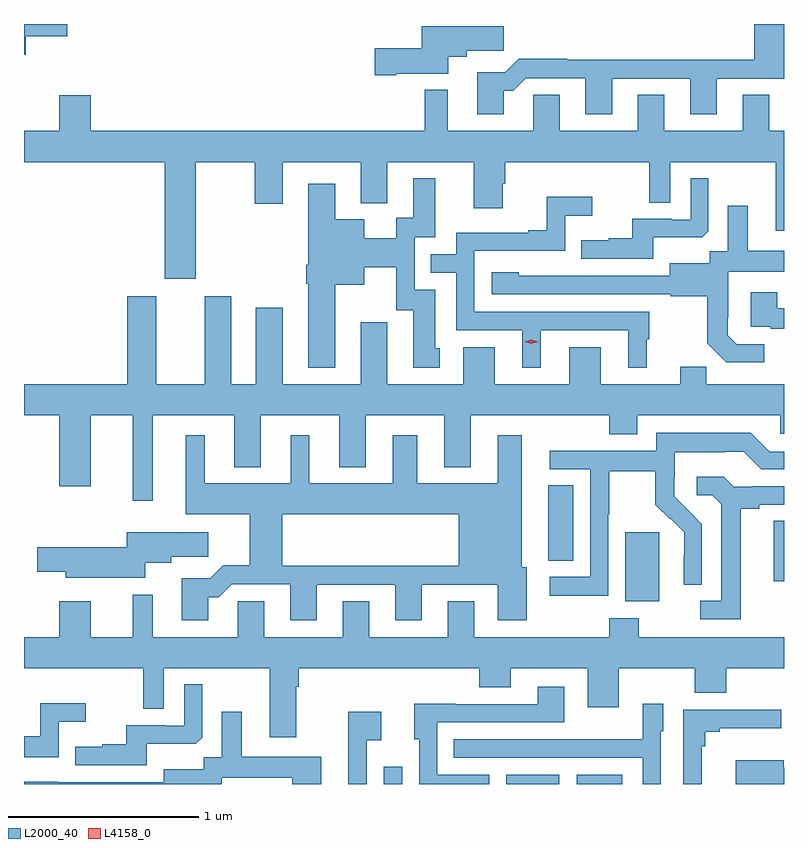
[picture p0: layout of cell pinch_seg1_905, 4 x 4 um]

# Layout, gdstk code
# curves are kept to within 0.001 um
import gdstk
lib = gdstk.Library(unit=1e-6, precision=1e-09)
def R(c, l, rs):  # rectangles x0, y0, x1, y1
    for r in rs: c.add(gdstk.rectangle(r[:2], r[2:], *l))
def P(c, l, *ps):  # polygons
    for p in ps: c.add(gdstk.Polygon(p, *l))
L2000_40 = (2000, 40)
L4158_0 = (4158, 0)

pinch_seg1_905 = lib.new_cell('pinch_seg1_905')
R(pinch_seg1_905, L2000_40, [(154.728,536.471,154.824,536.563), (155.372,536.471,155.65,536.521), (155.744,536.471,155.983,536.521), (155.999,537.434,156.178,537.795), (156.779,537.537,156.834,537.857), (155.594,537.646,155.725,538.043)])
P(pinch_seg1_905, L2000_40, [(152.843,540.406),(153.061,540.406),(153.061,540.471),(152.834,540.471),(152.834,540.31),(152.843,540.31)],
  [(155.359,540.119),(155.408,540.119),(155.475,540.186),(155.789,540.186),(155.789,539.997),(155.929,539.997),(155.929,540.183),(156.341,540.183),(156.341,539.997),(156.481,539.997),(156.481,540.183),(156.834,540.183),(156.834,540.471),(156.677,540.471),(156.677,540.284),(155.693,540.284),(155.693,540.287),(155.438,540.287),(155.368,540.217),(155.219,540.217),(155.219,539.997),(155.359,539.997)],
  [(154.792,540.209),(155.068,540.209),(155.068,540.299),(155.164,540.299),(155.164,540.331),(155.359,540.331),(155.359,540.46),(154.928,540.46),(154.928,540.344),(154.68,540.344),(154.68,540.202),(154.792,540.202)],
  [(153.739,539.744),(154.048,539.744),(154.048,539.526),(154.195,539.526),(154.195,539.744),(154.607,539.744),(154.607,539.528),(154.747,539.528),(154.747,539.744),(155.201,539.744),(155.201,539.502),(155.353,539.502),(155.353,539.631),(155.366,539.631),(155.366,539.744),(156.126,539.744),(156.126,539.53),(156.234,539.53),(156.234,539.744),(156.791,539.744),(156.791,539.382),(156.834,539.382),(156.834,539.908),(156.757,539.908),(156.757,540.098),(156.617,540.098),(156.617,539.908),(156.205,539.908),(156.205,540.098),(156.065,540.098),(156.065,539.908),(155.653,539.908),(155.653,540.098),(155.514,540.098),(155.514,539.908),(155.065,539.908),(155.065,540.124),(154.944,540.124),(154.944,539.908),(153.184,539.908),(153.184,540.097),(153.02,540.097),(153.02,539.908),(152.834,539.908),(152.834,539.744),(153.575,539.744),(153.575,539.13),(153.739,539.13)],
  [(156.145,539.348),(156.403,539.348),(156.435,539.379),(156.435,539.659),(156.342,539.659),(156.342,539.442),(156.242,539.442),(156.242,539.445),(156.035,539.445),(156.035,539.344),(155.911,539.344),(155.911,539.332),(155.767,539.332),(155.767,539.235),(156.145,539.235)],
  [(154.471,539.099),(154.624,539.099),(154.624,539.192),(154.794,539.192),(154.794,538.965),(154.883,538.965),(154.883,538.662),(155.023,538.662),(155.023,538.764),(154.999,538.764),(154.999,539.073),(154.89,539.073),(154.89,539.349),(154.999,539.349),(154.999,539.659),(154.883,539.659),(154.883,539.45),(154.793,539.45),(154.793,539.344),(154.624,539.344),(154.624,539.443),(154.471,539.443),(154.471,539.629),(154.331,539.629),(154.331,539.203),(154.319,539.203),(154.319,539.103),(154.331,539.103),(154.331,538.661),(154.471,538.661)],
  [(155.554,538.86),(156.014,538.86),(156.014,538.661),(156.112,538.661),(156.112,538.812),(156.124,538.812),(156.124,538.956),(155.205,538.956),(155.205,539.277),(155.682,539.277),(155.682,539.462),(155.824,539.462),(155.824,539.561),(155.584,539.561),(155.584,539.386),(155.489,539.386),(155.489,539.373),(155.109,539.373),(155.109,539.259),(154.975,539.259),(154.975,539.163),(155.109,539.163),(155.109,538.86),(155.456,538.86),(155.456,538.661),(155.554,538.661)],
  [(156.73,538.785),(156.585,538.785),(156.538,538.832),(156.538,538.927),(156.54,538.927),(156.54,539.168),(156.834,539.168),(156.834,539.278),(156.643,539.278),(156.643,539.515),(156.539,539.515),(156.539,539.276),(156.444,539.276),(156.444,539.212),(156.233,539.212),(156.233,539.145),(155.439,539.146),(155.439,539.164),(155.295,539.164),(155.295,539.049),(156.237,539.049),(156.237,539.037),(156.429,539.037),(156.429,538.791),(156.529,538.691),(156.73,538.691)],
  [(156.834,538.974),(156.799,538.974),(156.799,539.059),(156.659,539.059),(156.659,538.878),(156.763,538.878),(156.763,538.866),(156.834,538.866)],
  [(154.747,538.9),(154.607,538.9),(154.607,538.576),(154.195,538.576),(154.195,538.978),(154.055,538.978),(154.055,538.576),(153.925,538.576),(153.925,539.038),(153.785,539.038),(153.785,538.576),(153.529,538.576),(153.529,539.038),(153.377,539.038),(153.377,538.576),(152.834,538.576),(152.834,538.412),(153.02,538.412),(153.02,538.038),(153.184,538.038),(153.184,538.412),(153.407,538.412),(153.407,537.963),(153.511,537.963),(153.511,538.412),(153.941,538.412),(153.941,538.139),(154.081,538.139),(154.081,538.412),(154.493,538.412),(154.493,538.139),(154.633,538.139),(154.633,538.412),(155.045,538.412),(155.045,538.139),(155.185,538.139),(155.185,538.412),(155.914,538.412),(155.914,538.313),(156.061,538.313),(156.061,538.412),(156.813,538.412),(156.813,538.314),(156.834,538.314),(156.834,538.576),(156.425,538.576),(156.425,538.667),(156.287,538.667),(156.287,538.576),(155.869,538.576),(155.869,538.771),(155.705,538.771),(155.705,538.576),(155.311,538.576),(155.311,538.771),(155.147,538.771),(155.147,538.576),(154.747,538.576)],
  [(155.91,537.892),(155.913,537.892),(155.913,538.116),(156.157,538.116),(156.157,537.941),(156.234,537.864),(156.237,537.867),(156.308,537.797),(156.308,537.674),(156.306,537.674),(156.306,537.52),(156.402,537.52),(156.402,537.838),(156.256,537.986),(156.256,538.083),(156.258,538.083),(156.258,538.217),(156.521,538.217),(156.521,538.221),(156.621,538.221),(156.714,538.128),(156.834,538.128),(156.834,538.221),(156.759,538.221),(156.659,538.321),(156.162,538.321),(156.162,538.224),(155.601,538.224),(155.601,538.128),(155.814,538.128),(155.814,537.561),(155.601,537.561),(155.601,537.463),(155.91,537.463)],
  [(153.665,537.553),(153.665,537.333),(153.805,537.333),(153.805,537.455),(153.86,537.455),(153.927,537.522),(154.235,537.522),(154.235,537.333),(154.375,537.333),(154.375,537.519),(154.787,537.519),(154.787,537.333),(154.927,537.333),(154.927,537.519),(155.327,537.519),(155.327,537.333),(155.479,537.333),(155.479,537.612),(155.455,537.612),(155.455,538.306),(155.327,538.306),(155.327,538.054),(154.903,538.054),(154.903,538.306),(154.775,538.306),(154.775,538.054),(154.336,538.054),(154.336,538.306),(154.238,538.306),(154.238,538.054),(153.784,538.054),(153.784,538.306),(153.686,538.306),(153.686,537.89),(154.022,537.89),(154.022,537.623),(153.884,537.623),(153.881,537.62),(154.193,537.62),(154.193,537.89),(155.123,537.89),(155.123,537.62),(153.881,537.62),(153.814,537.553)],
  [(156.607,537.92),(156.703,537.92),(156.703,537.942),(156.834,537.942),(156.834,538.038),(156.664,538.038),(156.664,538.035),(156.57,538.035),(156.518,538.087),(156.375,538.087),(156.375,537.99),(156.456,537.99),(156.503,537.943),(156.503,537.435),(156.393,537.435),(156.393,537.339),(156.607,537.339)],
  [(153.472,537.635),(153.61,537.635),(153.61,537.667),(153.805,537.667),(153.805,537.796),(153.374,537.796),(153.374,537.717),(152.904,537.717),(152.904,537.587),(153.053,537.587),(153.053,537.557),(153.472,537.557)],
  [(154.267,536.984),(154.28,536.984),(154.28,537.08),(155.231,537.08),(155.231,536.981),(155.395,536.981),(155.395,537.08),(155.801,537.08),(155.801,536.874),(155.965,536.874),(155.965,537.08),(156.365,537.08),(156.365,536.952),(156.529,536.952),(156.529,537.08),(156.834,537.08),(156.834,537.244),(156.069,537.244),(156.069,537.343),(155.914,537.343),(155.914,537.244),(155.203,537.244),(155.203,537.434),(155.063,537.434),(155.063,537.244),(154.651,537.244),(154.651,537.434),(154.511,537.434),(154.511,537.244),(154.099,537.244),(154.099,537.434),(153.96,537.434),(153.96,537.244),(153.511,537.244),(153.511,537.466),(153.407,537.466),(153.407,537.244),(153.184,537.244),(153.184,537.433),(153.02,537.433),(153.02,537.244),(152.834,537.244),(152.834,537.08),(153.462,537.08),(153.462,536.866),(153.57,536.866),(153.57,537.08),(154.127,537.08),(154.127,536.718),(154.267,536.718)],
  [(153.481,536.684),(153.739,536.684),(153.771,536.715),(153.771,536.995),(153.678,536.995),(153.678,536.778),(153.578,536.778),(153.578,536.781),(153.371,536.781),(153.371,536.68),(153.247,536.68),(153.247,536.668),(153.103,536.668),(153.103,536.571),(153.481,536.571)],
  [(155.283,536.52),(155.01,536.52),(155.01,536.796),(155.677,536.796),(155.677,536.983),(155.537,536.983),(155.537,536.892),(155.107,536.892),(155.107,536.894),(154.889,536.894),(154.889,536.706),(154.914,536.706),(154.914,536.471),(155.283,536.471)],
  [(153.018,536.798),(153.16,536.798),(153.16,536.897),(152.92,536.897),(152.92,536.722),(152.834,536.722),(152.834,536.613),(153.018,536.613)],
  [(156.186,536.748),(156.199,536.748),(156.199,536.893),(156.09,536.893),(156.09,536.707),(155.773,536.707),(155.773,536.706),(155.095,536.706),(155.095,536.61),(156.09,536.61),(156.09,536.471),(156.186,536.471)],
  [(156.401,536.669),(156.419,536.669),(156.419,536.746),(156.496,536.746),(156.496,536.765),(156.82,536.765),(156.82,536.862),(156.303,536.862),(156.303,536.471),(156.401,536.471)],
  [(153.876,536.504),(154.247,536.504),(154.247,536.471),(154.399,536.471),(154.399,536.614),(153.979,536.614),(153.979,536.851),(153.875,536.851),(153.875,536.612),(153.78,536.612),(153.78,536.548),(153.569,536.548),(153.569,536.481),(153.011,536.481),(153.011,536.482),(152.834,536.482),(152.834,536.471),(153.876,536.471)],
  [(154.638,536.702),(154.714,536.702),(154.714,536.851),(154.541,536.851),(154.541,536.471),(154.638,536.471)],
  [(156.834,536.557),(156.832,536.557),(156.832,536.596),(156.581,536.596),(156.581,536.471),(156.834,536.471)])
P(pinch_seg1_905, L4158_0, [(155.505,538.788),(155.469,538.798),(155.469,538.798),(155.469,538.798),(155.505,538.808),(155.541,538.798),(155.541,538.798),(155.541,538.798)])

lib.write_gds('pinch_seg1_905.gds')
